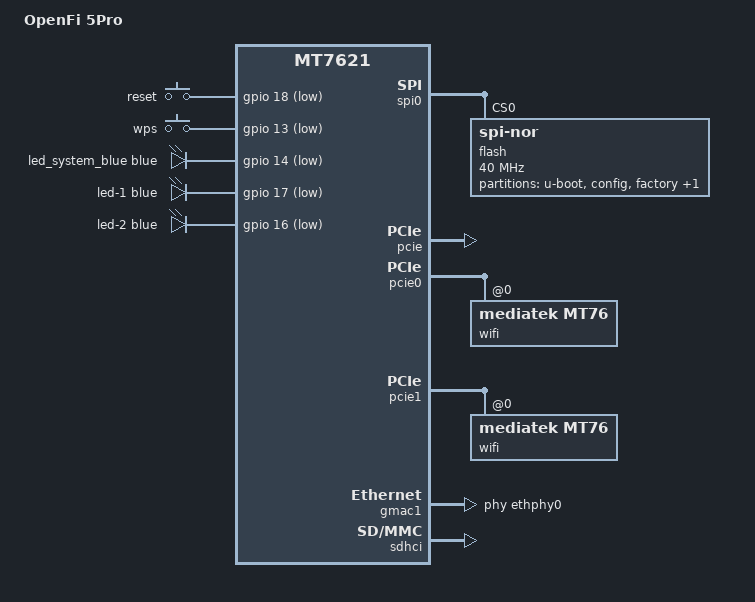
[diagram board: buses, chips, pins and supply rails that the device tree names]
// SPDX-License-Identifier: GPL-2.0-or-later OR MIT

#include "mt7621.dtsi"

#include <dt-bindings/gpio/gpio.h>
#include <dt-bindings/input/input.h>
#include <dt-bindings/leds/common.h>

/ {
	compatible = "openfi,5pro", "mediatek,mt7621-soc";
	model = "OpenFi 5Pro";

	aliases {
		led-boot = &led_system_blue;
		led-failsafe = &led_system_blue;
		led-running = &led_system_blue;
		led-upgrade = &led_system_blue;
		label-mac-device = &gmac0;
	};

	chosen {
		bootargs = "console=ttyS0,115200";
	};

	keys {
		compatible = "gpio-keys";

		reset {
			label = "reset";
			gpios = <&gpio 18 GPIO_ACTIVE_LOW>;
			linux,code = <KEY_RESTART>;
		};

		wps {
			label = "wps";
			gpios = <&gpio 13 GPIO_ACTIVE_LOW>;
			linux,code = <KEY_WPS_BUTTON>;
		};
	};

	leds {
		compatible = "gpio-leds";

		led_system_blue: led-0 {
			color = <LED_COLOR_ID_BLUE>;
			function = LED_FUNCTION_STATUS;
			gpios = <&gpio 14 GPIO_ACTIVE_LOW>;
		};

		led-1 {
			color = <LED_COLOR_ID_BLUE>;
			function = LED_FUNCTION_WAN_ONLINE;
			gpios = <&gpio 17 GPIO_ACTIVE_LOW>;
		};

		led-2 {
			color = <LED_COLOR_ID_BLUE>;
			function = LED_FUNCTION_WLAN;
			linux,default-trigger = "phy0tpt";
			gpios = <&gpio 16 GPIO_ACTIVE_LOW>;
		};
	};
};

&spi0 {
	status = "okay";

	flash@0 {
		compatible = "jedec,spi-nor";
		reg = <0>;
		spi-max-frequency = <40000000>;
		broken-flash-reset;

		partitions {
			compatible = "fixed-partitions";
			#address-cells = <1>;
			#size-cells = <1>;

			partition@0 {
				label = "u-boot";
				reg = <0x0 0x30000>;
				read-only;
			};

			partition@30000 {
				label = "config";
				reg = <0x30000 0x10000>;
				read-only;
			};

			partition@40000 {
				label = "factory";
				reg = <0x40000 0x10000>;
				read-only;

				nvmem-layout {
					compatible = "fixed-layout";
					#address-cells = <1>;
					#size-cells = <1>;

					eeprom_factory_0: eeprom@0 {
						reg = <0x0 0x400>;
					};

					eeprom_factory_8000: eeprom@8000 {
						reg = <0x8000 0x4da8>;
					};

					macaddr_factory_e000: macaddr@e000 {
						reg = <0xe000 0x6>;
					};

					macaddr_factory_e006: macaddr@e006 {
						reg = <0xe006 0x6>;
					};
				};
			};

			partition@50000 {
				compatible = "denx,uimage";
				label = "firmware";
				reg = <0x50000 0x3fb0000>;
			};
		};
	};
};

&pcie {
	status = "okay";
};

&pcie0 {
	wifi@0,0 {
		compatible = "mediatek,mt76";
		reg = <0x0000 0 0 0 0>;
		ieee80211-freq-limit = <2400000 2500000>;
		nvmem-cells = <&eeprom_factory_0>;
		nvmem-cell-names = "eeprom";
	};
};

&pcie1 {
	wifi@0,0 {
		compatible = "mediatek,mt76";
		reg = <0x0000 0 0 0 0>;
		ieee80211-freq-limit = <5000000 6000000>;
		nvmem-cells = <&eeprom_factory_8000>;
		nvmem-cell-names = "eeprom";
	};
};

&gmac0 {
	nvmem-cells = <&macaddr_factory_e000>;
	nvmem-cell-names = "mac-address";
};

&gmac1 {
	status = "okay";
	label = "wan";
	phy-handle = <&ethphy0>;

	nvmem-cells = <&macaddr_factory_e006>;
	nvmem-cell-names = "mac-address";
};

&ethphy0 {
	/delete-property/ interrupts;
};

&switch0 {
	ports {
		port@1 {
			status = "okay";
			label = "lan";
		};
	};
};

&sdhci {
	status = "okay";
};

&state_default {
	gpio {
		groups = "jtag", "wdt";
		function = "gpio";
	};
};
